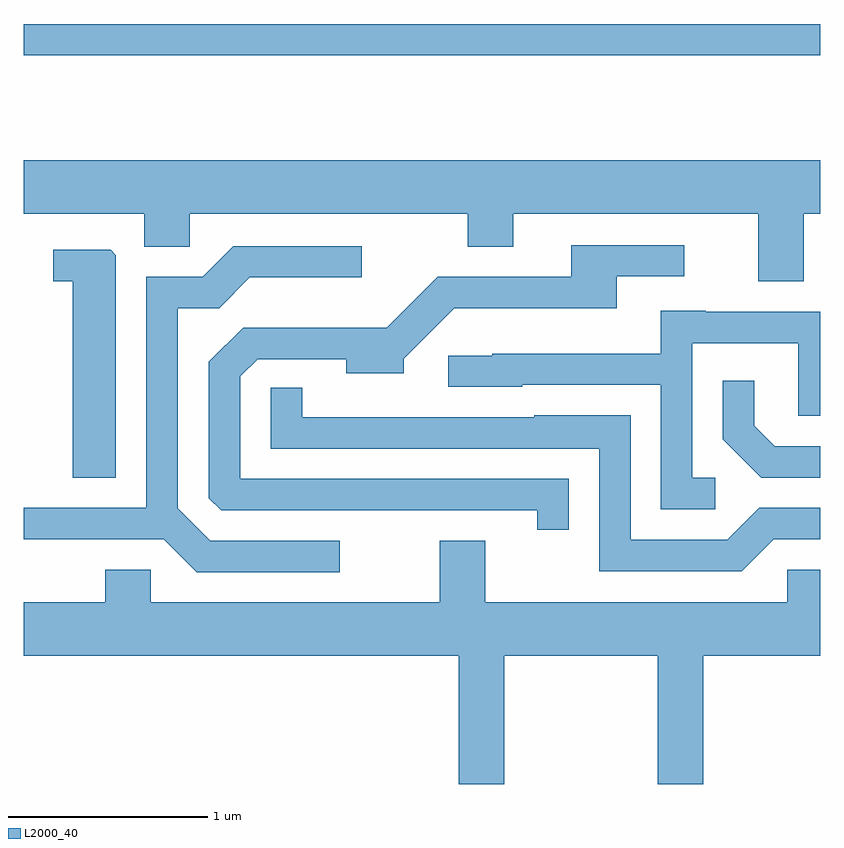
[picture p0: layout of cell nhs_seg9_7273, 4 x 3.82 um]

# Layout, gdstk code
import gdstk
lib = gdstk.Library(unit=1e-6, precision=1e-09)
def R(c, l, rs):  # rectangles x0, y0, x1, y1
    for r in rs: c.add(gdstk.rectangle(r[:2], r[2:], *l))
def P(c, l, *ps):  # polygons
    for p in ps: c.add(gdstk.Polygon(p, *l))
L2000_40 = (2000, 40)

nhs_seg9_7273 = lib.new_cell('nhs_seg9_7273')
R(nhs_seg9_7273, L2000_40, [(399.611,2068.091,403.611,2068.249)])
P(nhs_seg9_7273, L2000_40, [(403.529,2067.296),(403.611,2067.296),(403.611,2067.564),(399.611,2067.564),(399.611,2067.296),(400.216,2067.296),(400.216,2067.131),(400.444,2067.131),(400.444,2067.296),(401.841,2067.296),(401.841,2067.131),(402.069,2067.131),(402.069,2067.296),(403.301,2067.296),(403.301,2066.956),(403.529,2066.956)],
  [(402.349,2065.964),(400.699,2065.964),(400.699,2066.479),(400.787,2066.566),(401.231,2066.566),(401.231,2066.496),(401.519,2066.496),(401.519,2066.568),(401.772,2066.821),(402.589,2066.821),(402.589,2066.981),(402.928,2066.981),(402.928,2067.139),(402.361,2067.139),(402.361,2066.979),(401.689,2066.979),(401.434,2066.724),(400.714,2066.724),(400.541,2066.552),(400.541,2065.867),(400.602,2065.806),(402.191,2065.806),(402.191,2065.708),(402.349,2065.708)],
  [(401.198,2065.654),(400.547,2065.654),(400.384,2065.817),(400.384,2066.821),(400.592,2066.821),(400.747,2066.976),(401.308,2066.976),(401.308,2067.134),(400.664,2067.134),(400.509,2066.979),(400.226,2066.979),(400.226,2065.819),(399.611,2065.819),(399.611,2065.661),(400.314,2065.661),(400.479,2065.496),(401.198,2065.496)],
  [(400.074,2067.088),(400.049,2067.114),(399.758,2067.114),(399.758,2066.956),(399.856,2066.956),(399.856,2065.971),(400.074,2065.971)],
  [(403.083,2065.969),(402.969,2065.969),(402.969,2066.646),(403.501,2066.646),(403.501,2066.281),(403.611,2066.281),(403.611,2066.804),(403.035,2066.804),(403.035,2066.809),(402.811,2066.809),(402.811,2066.594),(401.965,2066.594),(401.965,2066.584),(401.743,2066.584),(401.743,2066.426),(402.115,2066.426),(402.115,2066.436),(402.811,2066.436),(402.811,2065.811),(403.083,2065.811)],
  [(403.611,2066.129),(403.382,2066.129),(403.279,2066.231),(403.279,2066.458),(403.121,2066.458),(403.121,2066.164),(403.314,2065.971),(403.611,2065.971)],
  [(403.377,2065.661),(403.611,2065.661),(403.611,2065.819),(403.304,2065.819),(403.144,2065.659),(402.659,2065.659),(402.659,2066.284),(402.175,2066.284),(402.175,2066.274),(401.009,2066.274),(401.009,2066.423),(400.851,2066.423),(400.851,2066.116),(402.501,2066.116),(402.501,2065.501),(403.217,2065.501)],
  [(402.024,2065.076),(402.796,2065.076),(402.796,2064.432),(403.024,2064.432),(403.024,2065.076),(403.611,2065.076),(403.611,2065.509),(403.446,2065.509),(403.446,2065.344),(401.929,2065.344),(401.929,2065.654),(401.701,2065.654),(401.701,2065.344),(400.249,2065.344),(400.249,2065.509),(400.021,2065.509),(400.021,2065.344),(399.611,2065.344),(399.611,2065.076),(401.796,2065.076),(401.796,2064.432),(402.024,2064.432)])

lib.write_gds('nhs_seg9_7273.gds')
